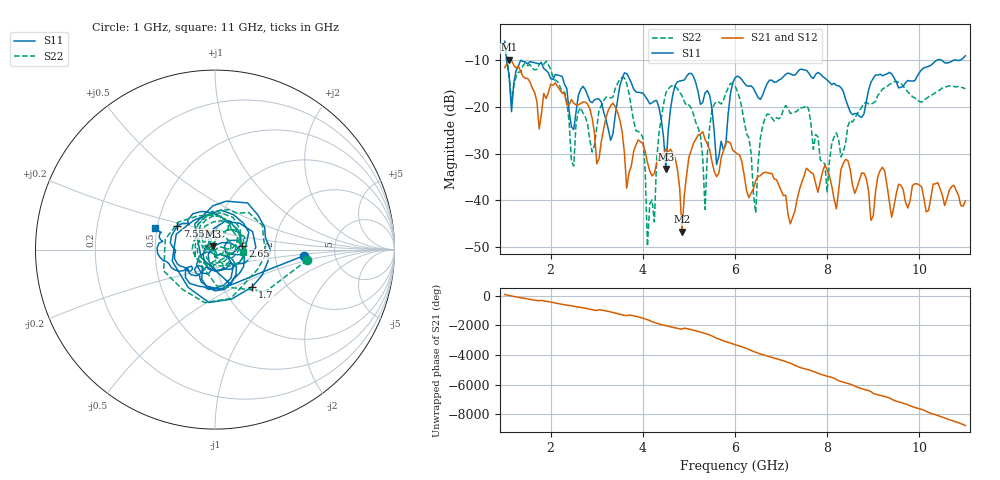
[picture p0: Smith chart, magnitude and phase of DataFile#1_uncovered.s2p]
! MS46122B
! 1728301/71650013
! 6/21/2022 4:06:48 PM
! C:\USERS\MILLIWAVE\DESKTOP\XYSTAGE_PYTHON\DATA\IMAI\DATAFILE#1_UNCOVERED.S2P
! CHANNEL.1
! TR.MEASUREMENT
! CORRECTED.DATA
# GHZ S RI R 50.0
! FREQ.GHZ  S11RE  S11IM  S21RE  S21IM  S12RE  S12IM  S22RE  S22IM
!; PortSelection: Port_12
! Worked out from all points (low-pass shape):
!   201 points, 1 GHz to 11 GHz, reference 50 ohm
!   highest |S21| = -9.89 dB at 1.1 GHz (marker M1); lowest = -46.7 dB at 4.85 GHz (marker M2)
!   |S21| within 3 dB of the highest: start of sweep to 1.371 GHz
!   lowest |S11| = -33.3 dB at 4.5 GHz (marker M3), VSWR 1.04, Z = 49 + j1.88 ohm
!   |S11| at or under -10 dB: 1.043 GHz to 1.349 GHz (306.6 MHz wide, 25.6 % of centre); 1.353 GHz to 10.38 GHz (9.026 GHz wide, 154 % of centre); 10.49 GHz to 10.74 GHz (250.7 MHz wide, 2.36 % of centre)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
!   |S22| runs from -49.9 to -5.7 dB; largest |S21 - S12| = 0.0013
!   S11 on the Smith chart (normalised r, x): 1 GHz: 2.95, -0.26; 1.7 GHz: 1.36, -0.62; 2.65 GHz: 1.36, +0.06; 7.55 GHz: 0.63, +0.18; 11 GHz: 0.49, +0.13
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1  0.4957 -0.0338  0.0114 0.2633  0.0109 0.2632  0.5135 -0.0584
1.1  0.0902 -0.1965  0.2921 0.1316  0.2913 0.1322  0.00994 -0.2028
1.7  0.2072 -0.2075  0.0844 0.0781  0.084 0.0784  0.1557 -0.1993
2.5  0.0536 0.0199  0.1063 0.0284  0.1059 0.0289  -0.0172 0.0156
2.65  0.1531 0.0197  0.0548 -0.094  0.0551 -0.0937  0.0906 0.0378
2.7  0.1641 -0.0271  0.00508 -0.1125  0.00523 -0.1124  0.0863 -0.00382
3.3  -0.034 0.0278  0.1023 -0.00989  0.1023 -0.00971  -0.1089 0.0615
3.6  0.2094 0.1  -0.0162 0.0277  -0.0162 0.0278  0.1011 0.1789
4  0.0897 -0.1086  0.0119 -0.0386  0.0122 -0.0385  0.0404 -0.0238
4.1  0.0547 -0.1068  -0.0252 -0.00231  -0.025 -0.00239  -0.00301 -0.00111
4.35  -0.0161 -0.0971  -0.00374 -0.0281  -0.0034 -0.028  -0.0511 0.0131
4.5  -0.00982 0.0192  -0.0297 0.0197  -0.0295 0.0195  -0.0565 0.1298
4.85  0.1125 -0.1555  0.000112 -0.0046  0.000223 -0.00489  0.1315 -0.00557
5.35  -0.0373 -0.1366  0.0411 -0.0179  0.0411 -0.0177  -0.00548 0.00579
5.6  -0.0183 -0.0158  0.0171 0.00512  0.017 0.00519  0.00943 0.1139
6  0.0487 -0.1988  0.0194 -0.0266  0.0194 -0.0264  0.1627 -0.0428
6.45  -0.1044 -0.095  -0.013 0.0097  -0.0131 0.00956  0.00692 0.00223
6.65  -0.082 -0.1334  0.0105 -0.0169  0.0105 -0.0168  0.0709 -0.0266
7.55  -0.2097 0.132  0.00268 0.0218  0.00239 0.0218  -0.0915 0.0486
7.7  -0.1459 0.1402  0.00732 -0.0177  0.00756 -0.0175  -0.0189 0.0297
9.35  -0.1414 -0.1879  0.00499 -0.00831  0.00506 -0.00837  -0.0508 0.1663
11  -0.3331 0.1202  -0.00481 -0.00857  -0.00472 -0.00855  0.1556 -0.0161
